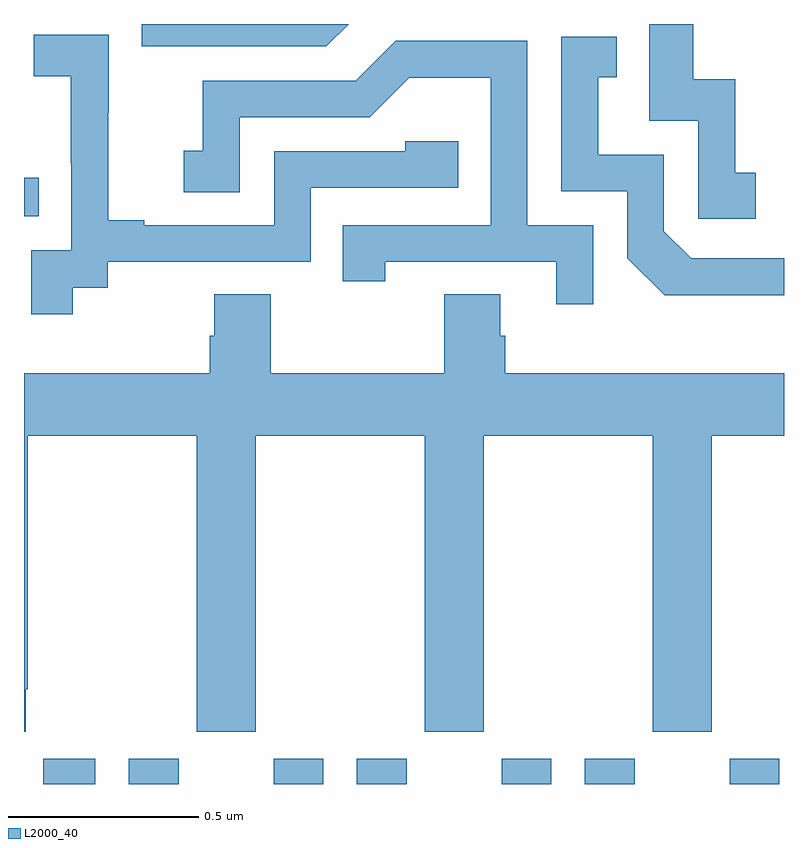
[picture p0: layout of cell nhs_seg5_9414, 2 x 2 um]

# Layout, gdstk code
import gdstk
lib = gdstk.Library(unit=1e-6, precision=1e-09)
def R(c, l, rs):  # rectangles x0, y0, x1, y1
    for r in rs: c.add(gdstk.rectangle(r[:2], r[2:], *l))
def P(c, l, *ps):  # polygons
    for p in ps: c.add(gdstk.Polygon(p, *l))
L2000_40 = (2000, 40)

nhs_seg5_9414 = lib.new_cell('nhs_seg5_9414')
R(nhs_seg5_9414, L2000_40, [(233.051,899.799,233.188,899.866), (233.276,899.799,233.407,899.866), (233.657,899.799,233.788,899.866), (233.876,899.799,234.007,899.866), (234.257,899.799,234.388,899.866), (234.476,899.799,234.607,899.866), (234.857,899.799,234.988,899.866), (233,901.293,233.039,901.394)])
P(nhs_seg5_9414, L2000_40, [(234.925,901.407),(234.872,901.407),(234.872,901.654),(234.761,901.654),(234.761,901.799),(234.645,901.799),(234.645,901.545),(234.774,901.545),(234.774,901.287),(234.925,901.287)],
  [(233.855,901.799),(233.31,901.799),(233.31,901.74),(233.796,901.74)],
  [(233.128,901.105),(233.22,901.105),(233.22,901.173),(233.754,901.173),(233.754,901.368),(234.143,901.368),(234.143,901.491),(234.003,901.491),(234.003,901.464),(233.658,901.464),(233.658,901.269),(233.317,901.269),(233.317,901.282),(233.222,901.282),(233.222,901.565),(233.223,901.565),(233.223,901.771),(233.025,901.771),(233.025,901.661),(233.123,901.661),(233.123,901.433),(233.124,901.433),(233.124,901.203),(233.019,901.203),(233.019,901.035),(233.128,901.035)],
  [(235,901.182),(234.756,901.182),(234.684,901.254),(234.684,901.455),(234.511,901.455),(234.511,901.659),(234.56,901.659),(234.56,901.765),(234.414,901.765),(234.414,901.359),(234.588,901.359),(234.588,901.182),(234.686,901.085),(235,901.085)],
  [(234.498,901.269),(234.324,901.269),(234.324,901.755),(233.978,901.755),(233.873,901.65),(233.47,901.65),(233.47,901.465),(233.421,901.465),(233.421,901.356),(233.568,901.356),(233.568,901.554),(233.91,901.554),(234.014,901.658),(234.228,901.658),(234.228,901.269),(233.839,901.269),(233.839,901.122),(233.95,901.122),(233.95,901.173),(234.401,901.173),(234.401,901.062),(234.498,901.062)],
  [(233.005,900.049),(233.01,900.049),(233.01,900.716),(233.455,900.716),(233.455,899.937),(233.61,899.937),(233.61,900.716),(234.055,900.716),(234.055,899.937),(234.21,899.937),(234.21,900.716),(234.655,900.716),(234.655,899.937),(234.81,899.937),(234.81,900.716),(235,900.716),(235,900.88),(234.266,900.88),(234.266,900.978),(234.253,900.978),(234.253,901.088),(234.106,901.088),(234.106,900.88),(233.649,900.88),(233.649,901.088),(233.501,901.088),(233.501,900.978),(233.489,900.978),(233.489,900.88),(233,900.88),(233,899.937),(233.005,899.937)])

lib.write_gds('nhs_seg5_9414.gds')
